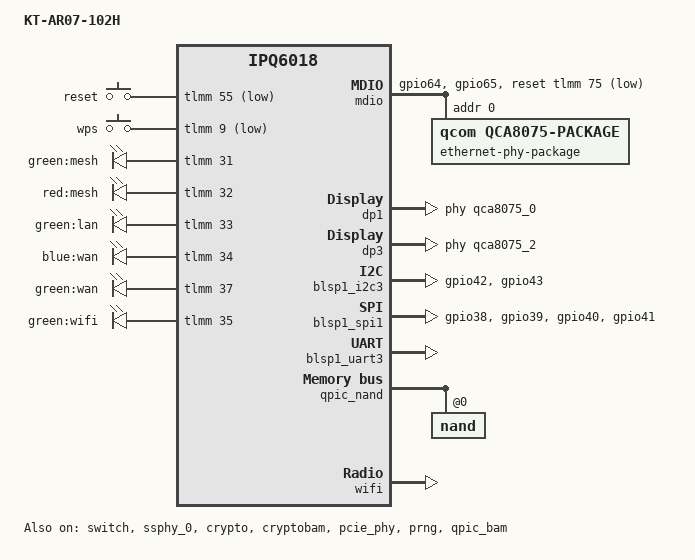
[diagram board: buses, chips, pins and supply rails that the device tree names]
// SPDX-License-Identifier: (GPL-2.0+)
/* Copyright (c) 2026, Mohammed baalawi <baalwy2009@gmail.com> */

/dts-v1/;

// #include "ipq6018.dtsi"
#include "ipq6018-512m.dtsi"
#include "ipq6018-cp-cpu.dtsi"
#include "ipq6018-ess.dtsi"
// #include "ipq6018-nss.dtsi"
#include <dt-bindings/gpio/gpio.h>
#include <dt-bindings/input/input.h>
#include <dt-bindings/leds/common.h>

/ {
	model = "KT-AR07-102H";
	compatible = "kt,ar07-102h", "qcom,ipq6018";

	aliases {
		serial0 = &blsp1_uart3;
		label-mac-device = &dp3;
		led-boot = &led_wan_blue;
		led-failsafe = &led_wan_blue;
		led-running = &led_wan_blue;
		led-upgrade = &led_wan_blue;
		ethernet0 = &dp1;
		ethernet1 = &dp3;
	};

	chosen {
		stdout-path = "serial0:115200n8";
		bootargs-append = " root=/dev/ubiblock0_1 swiotlb=1";
	};

	keys {
		compatible = "gpio-keys";

		reset {
			label = "reset";
			gpios = <&tlmm 55 GPIO_ACTIVE_LOW>;
			linux,code = <KEY_RESTART>;
		};

		wps {
			label = "wps";
			gpios = <&tlmm 9 GPIO_ACTIVE_LOW>;
			linux,code = <KEY_WPS_BUTTON>;
		};
	};

	leds {
		compatible = "gpio-leds";

		mesh_green {
			label = "green:mesh";
			gpios = <&tlmm 31 GPIO_ACTIVE_HIGH>;
		};

		mesh_red {
			label = "red:mesh";
			gpios = <&tlmm 32 GPIO_ACTIVE_HIGH>;
			default-state = "on";
		};

		lan_green {
			label = "green:lan";
			gpios = <&tlmm 33 GPIO_ACTIVE_HIGH>;
		};

		led_wan_blue: wan_blue {
			label = "blue:wan";
			gpios = <&tlmm 34 GPIO_ACTIVE_HIGH>;
		};

		wan_green {
			label = "green:wan";
			gpios = <&tlmm 37 GPIO_ACTIVE_HIGH>;
		};

		wifi_green {
			label = "green:wifi";
			gpios = <&tlmm 35 GPIO_ACTIVE_HIGH>;
		};
	};
};

&tlmm {
	gpio-reserved-ranges = <20 1>;

	mdio_pins: mdio-pins {
		mdc {
			pins = "gpio64";
			function = "mdc";
			drive-strength = <8>;
			bias-pull-up;
		};

		mdio {
			pins = "gpio65";
			function = "mdio";
			drive-strength = <8>;
			bias-pull-up;
		};
	};

	i2c_1_pins: i2c-1-state {
		pins = "gpio42", "gpio43";
		function = "blsp2_i2c";
		drive-strength = <8>;
	};

	spi_0_pins: spi-0-state {
		pins = "gpio38", "gpio39", "gpio40", "gpio41";
		function = "blsp0_spi";
		drive-strength = <8>;
		bias-pull-down;
	};
};

&mdio {
	status = "okay";
	pinctrl-0 = <&mdio_pins>;
	pinctrl-names = "default";
	reset-gpios = <&tlmm 75 GPIO_ACTIVE_LOW>;

	ethernet-phy-package@0 {
		compatible = "qcom,qca8075-package";
		#address-cells = <1>;
		#size-cells = <0>;
		reg = <0>;

		qca8075_0: ethernet-phy@0 {
			compatible = "ethernet-phy-ieee802.3-c22";
			reg = <0>;
			
			leds {
				#address-cells = <1>;
				#size-cells = <0>;

				led@1 {
					reg = <1>;
					color = <LED_COLOR_ID_GREEN>;
					function = LED_FUNCTION_LAN;
					default-state = "keep";
				};
		};
  };

		qca8075_2: ethernet-phy@2 {
			compatible = "ethernet-phy-ieee802.3-c22";
			reg = <2>;

			leds {
				#address-cells = <1>;
				#size-cells = <0>;

				led@1 {
					reg = <1>;
					color = <LED_COLOR_ID_GREEN>;
					function = LED_FUNCTION_LAN;
					default-state = "keep";
				};
			};
		};
	};
};

&dp1 {
	status = "okay";
	label = "wan";
	phy-handle = <&qca8075_0>;
};

&dp3 {
	status = "okay";
	label = "lan";
	phy-handle = <&qca8075_2>;
};

&edma {
	status = "okay";
};

&switch {
	status = "okay";
	switch_lan_bmp = <ESS_PORT3>;
	switch_wan_bmp = <ESS_PORT1>;
	switch_mac_mode = <MAC_MODE_PSGMII>;

	qcom,port_phyinfo {
		port@1 {
			port_id = <1>;
			phy_address = <0>;
		};
		port@3 {
			port_id = <3>;
			phy_address = <2>;
		};
	};
};

&blsp1_i2c3 {
	status = "okay";
	pinctrl-0 = <&i2c_1_pins>;
	pinctrl-names = "default";
};

&blsp1_spi1 {
	status = "okay";
	pinctrl-0 = <&spi_0_pins>;
	pinctrl-names = "default";
};

&blsp1_uart3 {
	status = "okay";
	pinctrl-0 = <&serial_3_pins>;
	pinctrl-names = "default";
};


// &nss_crypto {
	// status = "ok";
// };

&qpic_nand {
	status = "okay";
	nand@0 {
		reg = <0>;
		nand-ecc-strength = <4>;
		nand-ecc-step-size = <512>;
		nand-bus-width = <8>;
		partitions {
			compatible = "qcom,smem-part";
		};
	};
};

&qusb_phy_1 {
	status = "disabled";
};

&ssphy_0 {
	status = "okay";
};

&rpm {
	status = "disabled";
};

&crypto {
	status = "okay";
};

&cryptobam {
	status = "okay";
};

&pcie_phy {
	status = "okay";
};

&prng {
	status = "okay";
};

&qpic_bam {
	status = "okay";
};

&wifi {
	status = "okay";
	qcom,ath11k-fw-memory-mode = <1>;
	qcom,ath11k-calibration-variant = "KT-AR07-102H";
};

&cpu_opp_table {
	opp-864000000 {
		opp-supported-hw = <0xf>;
	};

	opp-1056000000 {
		opp-supported-hw = <0xf>;
	};

	opp-1200000000 {
		opp-supported-hw = <0xf>;
	};

	opp-1320000000 {
		opp-supported-hw = <0xf>;
	};

	opp-1440000000 {
		opp-supported-hw = <0xf>;
	};

	opp-1512000000 {
		opp-supported-hw = <0xf>;
	};

	opp-1608000000 {
		opp-supported-hw = <0x1>;
	};

	opp-1800000000 {
		opp-supported-hw = <0x1>;
	};
};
